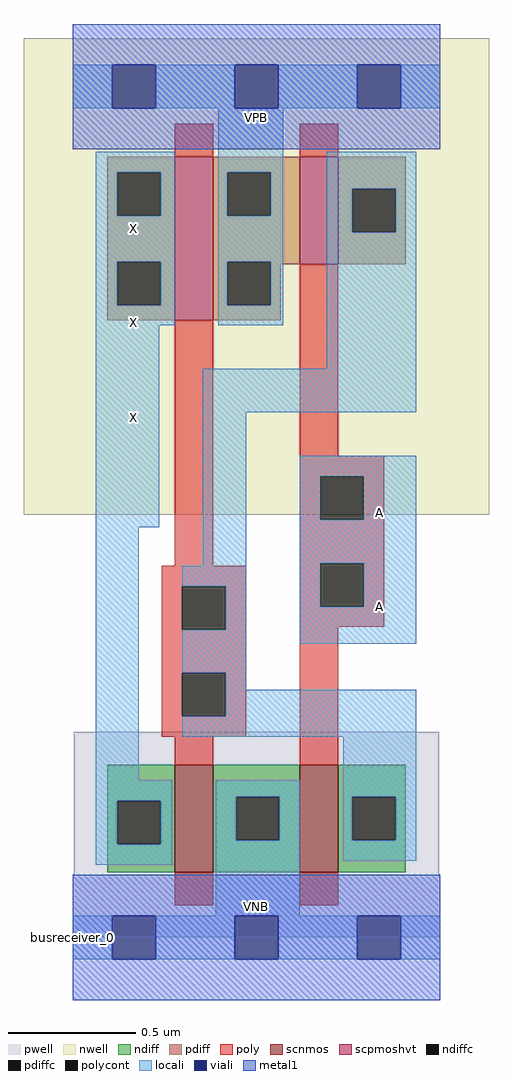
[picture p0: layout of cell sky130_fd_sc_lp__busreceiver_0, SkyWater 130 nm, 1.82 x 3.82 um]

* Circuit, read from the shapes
.subckt sky130_fd_sc_lp__busreceiver_0 A VGND VNB VPB VPWR X
XM1 VGND n1 X VNB sky130_fd_pr__nfet_01v8 w=0.42 l=0.15
XM2 n1 A VGND VNB sky130_fd_pr__nfet_01v8 w=0.42 l=0.15
XM3 VPWR n1 X VPB sky130_fd_pr__pfet_01v8_hvt w=0.64 l=0.15
XM4 n1 A VPWR VPB sky130_fd_pr__pfet_01v8_hvt w=0.42 l=0.15
.ends

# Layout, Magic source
magic
tech sky130A
magscale 1 2
<< nwell >>
rect -38 331 326 704
<< pwell >>
rect 1 49 287 161
rect 0 0 288 49
<< scnmos >>
rect 80 51 110 135
rect 178 51 208 135
<< scpmoshvt >>
rect 80 483 110 611
rect 178 527 208 611
<< ndiff >>
rect 27 107 80 135
rect 27 73 35 107
rect 69 73 80 107
rect 27 51 80 73
rect 110 110 178 135
rect 110 76 128 110
rect 162 76 178 110
rect 110 51 178 76
rect 208 110 261 135
rect 208 76 219 110
rect 253 76 261 110
rect 208 51 261 76
<< pdiff >>
rect 27 599 80 611
rect 27 565 35 599
rect 69 565 80 599
rect 27 529 80 565
rect 27 495 35 529
rect 69 495 80 529
rect 27 483 80 495
rect 110 599 178 611
rect 110 565 121 599
rect 155 565 178 599
rect 110 529 178 565
rect 110 495 121 529
rect 155 527 178 529
rect 208 586 261 611
rect 208 552 219 586
rect 253 552 261 586
rect 208 527 261 552
rect 155 495 163 527
rect 110 483 163 495
<< ndiffc >>
rect 35 73 69 107
rect 128 76 162 110
rect 219 76 253 110
<< pdiffc >>
rect 35 565 69 599
rect 35 495 69 529
rect 121 565 155 599
rect 121 495 155 529
rect 219 552 253 586
<< poly >>
rect 80 611 110 637
rect 178 611 208 637
rect 80 291 110 483
rect 178 377 208 527
rect 178 361 244 377
rect 178 327 194 361
rect 228 327 244 361
rect 178 293 244 327
rect 70 275 136 291
rect 70 241 86 275
rect 120 241 136 275
rect 70 207 136 241
rect 70 173 86 207
rect 120 173 136 207
rect 70 157 136 173
rect 178 259 194 293
rect 228 259 244 293
rect 178 243 244 259
rect 80 135 110 157
rect 178 135 208 243
rect 80 25 110 51
rect 178 25 208 51
<< polycont >>
rect 194 327 228 361
rect 86 241 120 275
rect 86 173 120 207
rect 194 259 228 293
<< locali >>
rect 0 649 31 683
rect 65 649 127 683
rect 161 649 223 683
rect 257 649 288 683
rect 18 599 80 615
rect 18 565 35 599
rect 69 565 80 599
rect 18 529 80 565
rect 18 495 35 529
rect 69 495 80 529
rect 18 479 80 495
rect 114 599 165 649
rect 114 565 121 599
rect 155 565 165 599
rect 114 529 165 565
rect 114 495 121 529
rect 155 495 165 529
rect 114 479 165 495
rect 199 586 269 615
rect 199 552 219 586
rect 253 552 269 586
rect 18 321 68 479
rect 199 445 269 552
rect 102 411 269 445
rect 18 123 52 321
rect 102 291 136 411
rect 86 275 136 291
rect 120 241 136 275
rect 86 207 136 241
rect 178 361 269 377
rect 178 327 194 361
rect 228 327 269 361
rect 178 293 269 327
rect 178 259 194 293
rect 228 259 269 293
rect 178 230 269 259
rect 120 194 136 207
rect 120 173 269 194
rect 86 157 269 173
rect 18 107 78 123
rect 18 73 35 107
rect 69 73 78 107
rect 18 57 78 73
rect 112 110 178 123
rect 112 76 128 110
rect 162 76 178 110
rect 112 17 178 76
rect 212 110 269 157
rect 212 76 219 110
rect 253 76 269 110
rect 212 60 269 76
rect 0 -17 31 17
rect 65 -17 127 17
rect 161 -17 223 17
rect 257 -17 288 17
<< viali >>
rect 31 649 65 683
rect 127 649 161 683
rect 223 649 257 683
rect 31 -17 65 17
rect 127 -17 161 17
rect 223 -17 257 17
<< metal1 >>
rect 0 683 288 715
rect 0 649 31 683
rect 65 649 127 683
rect 161 649 223 683
rect 257 649 288 683
rect 0 617 288 649
rect 0 17 288 49
rect 0 -17 31 17
rect 65 -17 127 17
rect 161 -17 223 17
rect 257 -17 288 17
rect 0 -49 288 -17
<< labels >>
flabel pwell s 0 0 288 49 0 FreeSans 200 0 0 0 VNB
port 3 nsew ground bidirectional
flabel nwell s 0 617 288 666 0 FreeSans 200 0 0 0 VPB
port 4 nsew power bidirectional
rlabel comment s 0 0 0 0 4 busreceiver_0
flabel metal1 s 0 617 288 666 0 FreeSans 340 0 0 0 VPWR
port 5 nsew power bidirectional
flabel metal1 s 0 0 288 49 0 FreeSans 340 0 0 0 VGND
port 2 nsew ground bidirectional
flabel locali s 223 316 257 350 0 FreeSans 340 0 0 0 A
port 1 nsew signal input
flabel locali s 31 390 65 424 0 FreeSans 340 0 0 0 X
port 6 nsew signal output
flabel locali s 31 464 65 498 0 FreeSans 340 0 0 0 X
port 6 nsew signal output
flabel locali s 31 538 65 572 0 FreeSans 340 0 0 0 X
port 6 nsew signal output
flabel locali s 223 242 257 276 0 FreeSans 340 0 0 0 A
port 1 nsew signal input
<< properties >>
string LEFsite unit
string LEFclass CORE
string FIXED_BBOX 0 0 288 666
string GDS_FILE $PDKPATH/libs.ref/sky130_fd_sc_lp/gds/sky130_fd_sc_lp.gds
string LEFsymmetry X Y
string GDS_END 2657852
string GDS_START 2653954
<< end >>
